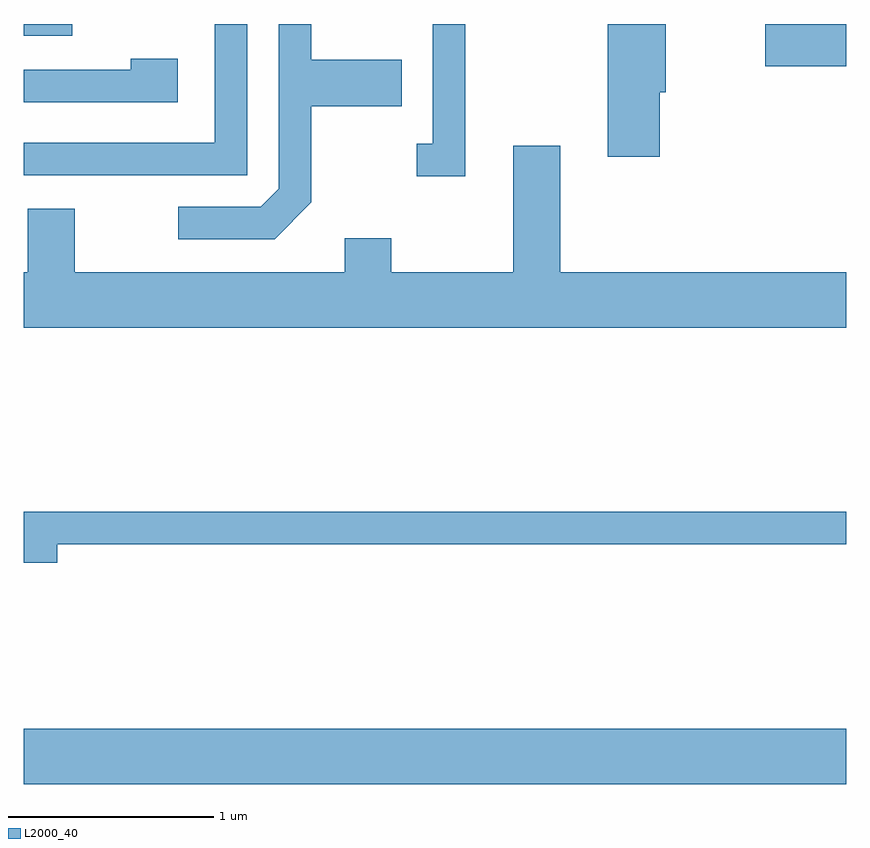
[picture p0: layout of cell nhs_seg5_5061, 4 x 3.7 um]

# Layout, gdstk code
import gdstk
lib = gdstk.Library(unit=1e-6, precision=1e-09)
def R(c, l, rs):  # rectangles x0, y0, x1, y1
    for r in rs: c.add(gdstk.rectangle(r[:2], r[2:], *l))
def P(c, l, *ps):  # polygons
    for p in ps: c.add(gdstk.Polygon(p, *l))
L2000_40 = (2000, 40)

nhs_seg5_5061 = lib.new_cell('nhs_seg5_5061')
R(nhs_seg5_5061, L2000_40, [(335.611,1432.376,339.611,1432.644), (339.216,1435.866,339.611,1436.072), (335.611,1436.016,335.848,1436.072)])
P(nhs_seg5_5061, L2000_40, [(337.009,1435.204),(337.009,1435.671),(337.449,1435.671),(337.449,1435.899),(337.009,1435.899),(337.009,1436.072),(336.851,1436.072),(336.851,1435.272),(336.764,1435.184),(336.363,1435.184),(336.363,1435.026),(336.832,1435.026)],
  [(336.699,1436.072),(336.541,1436.072),(336.541,1435.494),(335.611,1435.494),(335.611,1435.336),(336.699,1435.336)],
  [(337.759,1436.072),(337.601,1436.072),(337.601,1435.489),(337.523,1435.489),(337.523,1435.331),(337.759,1435.331)],
  [(338.704,1435.741),(338.734,1435.741),(338.734,1436.072),(338.451,1436.072),(338.451,1435.426),(338.704,1435.426)],
  [(336.359,1435.904),(336.131,1435.904),(336.131,1435.849),(335.611,1435.849),(335.611,1435.691),(336.359,1435.691)],
  [(339.611,1434.864),(338.219,1434.864),(338.219,1435.479),(337.991,1435.479),(337.991,1434.864),(337.399,1434.864),(337.399,1435.029),(337.171,1435.029),(337.171,1434.864),(335.859,1434.864),(335.859,1435.174),(335.631,1435.174),(335.631,1434.864),(335.611,1434.864),(335.611,1434.596),(339.611,1434.596)],
  [(335.774,1433.541),(339.611,1433.541),(339.611,1433.699),(335.611,1433.699),(335.611,1433.451),(335.774,1433.451)])

lib.write_gds('nhs_seg5_5061.gds')
